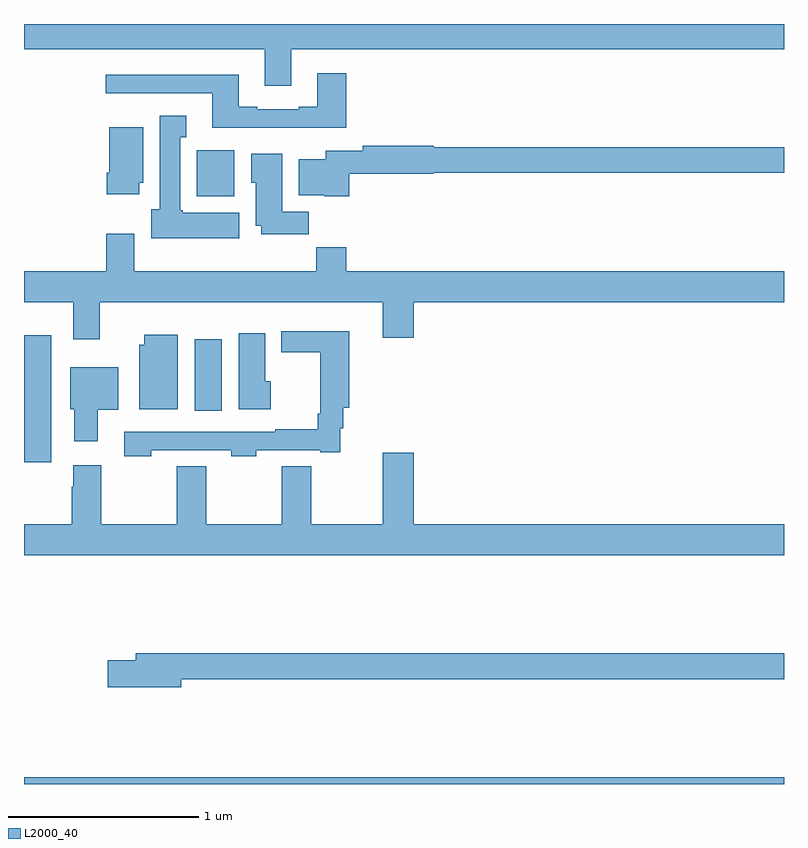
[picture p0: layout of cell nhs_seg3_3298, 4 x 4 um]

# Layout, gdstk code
import gdstk
lib = gdstk.Library(unit=1e-6, precision=1e-09)
def R(c, l, rs):  # rectangles x0, y0, x1, y1
    for r in rs: c.add(gdstk.rectangle(r[:2], r[2:], *l))
def P(c, l, *ps):  # polygons
    for p in ps: c.add(gdstk.Polygon(p, *l))
L2000_40 = (2000, 40)

nhs_seg3_3298 = lib.new_cell('nhs_seg3_3298')
R(nhs_seg3_3298, L2000_40, [(283,678.4,287,678.436), (283,680.094,283.144,680.761), (283.898,680.364,284.041,680.74), (283.91,681.494,284.107,681.736)])
P(nhs_seg3_3298, L2000_40, [(284.407,682.268),(287,682.268),(287,682.4),(283,682.4),(283,682.268),(284.267,682.268),(284.267,682.074),(284.407,682.074)],
  [(284.696,682.141),(284.543,682.141),(284.543,681.964),(284.447,681.964),(284.447,681.951),(284.227,681.951),(284.227,681.964),(284.131,681.964),(284.131,682.132),(283.431,682.132),(283.431,682.035),(283.991,682.035),(283.991,681.854),(284.696,681.854)],
  [(284.134,681.406),(283.836,681.406),(283.836,681.42),(283.822,681.42),(283.822,681.803),(283.855,681.803),(283.855,681.916),(283.715,681.916),(283.715,681.426),(283.67,681.426),(283.67,681.272),(284.134,681.272)],
  [(283.606,681.564),(283.627,681.564),(283.627,681.856),(283.448,681.856),(283.448,681.616),(283.436,681.616),(283.436,681.504),(283.606,681.504)],
  [(284.711,681.611),(285.156,681.611),(285.156,681.616),(287,681.616),(287,681.752),(285.156,681.752),(285.156,681.758),(284.784,681.758),(284.784,681.733),(284.588,681.733),(284.588,681.688),(284.447,681.688),(284.447,681.5),(284.58,681.5),(284.58,681.494),(284.711,681.494)],
  [(284.498,681.412),(284.359,681.412),(284.359,681.718),(284.195,681.718),(284.195,681.564),(284.219,681.564),(284.219,681.338),(284.249,681.338),(284.249,681.294),(284.498,681.294)],
  [(283.399,680.936),(284.888,680.936),(284.888,680.748),(285.052,680.748),(285.052,680.936),(287,680.936),(287,681.1),(284.696,681.1),(284.696,681.224),(284.539,681.224),(284.539,681.1),(283.579,681.1),(283.579,681.295),(283.432,681.295),(283.432,681.1),(283,681.1),(283,680.936),(283.259,680.936),(283.259,680.742),(283.399,680.742)],
  [(283.671,680.157),(284.091,680.157),(284.091,680.125),(284.223,680.125),(284.223,680.157),(284.558,680.157),(284.558,680.145),(284.664,680.145),(284.664,680.273),(284.681,680.273),(284.681,680.381),(284.711,680.381),(284.711,680.782),(284.355,680.782),(284.355,680.673),(284.56,680.673),(284.56,680.35),(284.545,680.35),(284.545,680.266),(284.323,680.266),(284.323,680.253),(283.527,680.253),(283.527,680.125),(283.671,680.125)],
  [(284.299,680.52),(284.269,680.52),(284.269,680.773),(284.129,680.773),(284.129,680.372),(284.299,680.372)],
  [(283.81,680.764),(283.634,680.764),(283.634,680.712),(283.607,680.712),(283.607,680.372),(283.81,680.372)],
  [(283.387,680.369),(283.495,680.369),(283.495,680.593),(283.244,680.593),(283.244,680.373),(283.265,680.373),(283.265,680.205),(283.387,680.205)],
  [(287,679.768),(285.052,679.768),(285.052,680.143),(284.888,680.143),(284.888,679.768),(284.511,679.768),(284.511,680.072),(284.356,680.072),(284.356,679.768),(283.958,679.768),(283.958,680.072),(283.804,680.072),(283.804,679.768),(283.407,679.768),(283.407,680.077),(283.259,680.077),(283.259,679.964),(283.252,679.964),(283.252,679.768),(283,679.768),(283,679.604),(287,679.604)],
  [(283.828,678.952),(287,678.952),(287,679.088),(283.589,679.088),(283.589,679.052),(283.44,679.052),(283.44,678.91),(283.828,678.91)])

lib.write_gds('nhs_seg3_3298.gds')
